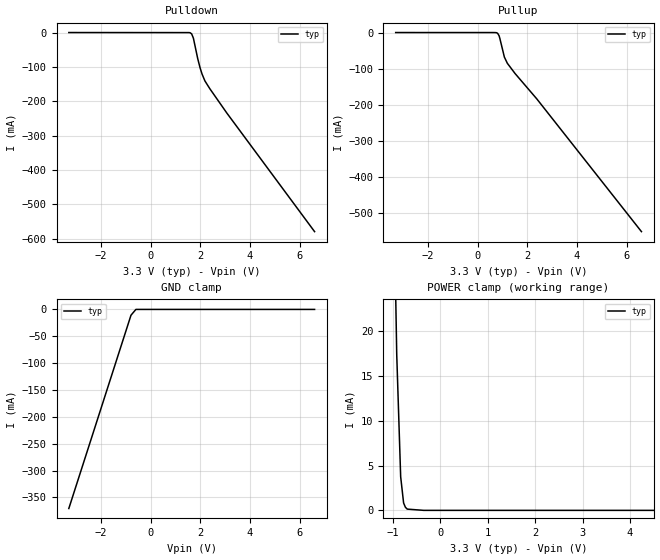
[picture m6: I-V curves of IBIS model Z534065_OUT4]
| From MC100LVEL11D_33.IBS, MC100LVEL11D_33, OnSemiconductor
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| (C) COPYRIGHT 1993-2000
| MENTOR GRAPHICS CORPORATION
| ICX STANDARD LIBRARY, ICX PROJECT MODELING,
| ICX CUSTOM MODELING, ICX VENDOR MODEL
| ALL RIGHTS RESERVED.
| THE FOLLOWING ARE TRADEMARKS OR SERVICE MARKS OF
| MENTOR GRAPHICS CORPORATION:ICX (R), ICX STANDARD
| LIBRARY(R), ICX PROJECT MODELING(R), ICX CUSTOM
| MODELING(R), qualityIBIS(TM), MODELVIEWER(TM),
| AND MODELEDITOR(TM)
| ALL COPIES OF SOFTWARE, INCLUDING BUT NOT LIMITED TO
| ANY MODIFICATIONS, ENHANCEMENTS OR DERIVATIVE WORKS,
| MUST CONTAIN ALL MENTOR GRAPHICS CORPORATION'S
| NOTICES AND LEGENDS, INCLUDING THOSE EMBEDDED IN
| SOFTWARE AND THOSE AFFIXED TO SOFTWARE MEDIUM
| AND CONTAINER, AS RECEIVED FROM MENTOR GRAPHICS
| CORPORATION.
| Model Application Version 1.89 2/18/99.
[Model] Z534065_OUT4
Model_type Output_ECL
Vref=1.300V
Rref=50.00ohms
Cref=0.000F
Vmeas=1.977V
C_comp 1.000pF NA NA
| variable typ   min   max
[Voltage Range] 3.300V NA NA
[POWER Clamp Reference] 3.300V NA NA
[Pullup Reference] 3.300V NA NA
[Pulldown Reference] 3.300V NA NA
[GND Clamp Reference] 0.000V NA NA
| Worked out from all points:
|   GND clamp passes 1 mA (typ) near -0.62 V on its own axis
|   POWER clamp passes 1 mA (typ) near -0.78 V on its own axis
[GND Clamp]
-3.3V     -370.7mA   NA         NA
-795.6mV  -10.79mA   NA         NA
-596.7mV  0A         NA         NA
6.6V      0A         NA         NA
[Pulldown]
-3.3V     122.1uA    NA         NA
1.533V    -47.68uA   NA         NA
1.648V    -3.808mA   NA         NA
1.718V    -16.2mA    NA         NA
1.893V    -76mA      NA         NA
1.983V    -101.6mA   NA         NA
2.066V    -120.6mA   NA         NA
2.182V    -140.8mA   NA         NA
3.066V    -234.5mA   NA         NA
6.6V      -579.9mA   NA         NA
[Pullup]
-3.3V     84.23uA    NA         NA
606mV     34.66uA    NA         NA
805mV     -2.051mA   NA         NA
863mV     -8.537mA   NA         NA
894mV     -15.77mA   NA         NA
1.078V    -68.06mA   NA         NA
1.197V    -85.16mA   NA         NA
1.509V    -113.7mA   NA         NA
2.382V    -183.9mA   NA         NA
6.6V      -552.4mA   NA         NA
[POWER Clamp]
-3.3V     1.204A     NA         NA
-1.152V   101.5mA    NA         NA
-1.027V   50.01mA    NA         NA
-919mV    17.44mA    NA         NA
-836mV    3.754mA    NA         NA
-774mV    822.9uA    NA         NA
-736mV    343.8uA    NA         NA
-697mV    139.2uA    NA         NA
-348.5mV  0A         NA         NA
6.6V      0A         NA         NA
[Ramp]
| variable typ min max
dV/dt_r 481.9m/449.1p NA NA
dV/dt_f 481.9m/215.0p NA NA
R_load = 50.0Ohms
